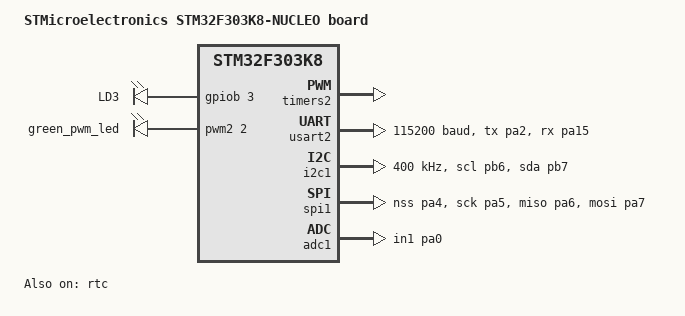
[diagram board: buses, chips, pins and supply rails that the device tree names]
/*
 * Copyright (c) 2020 Sebastian Schwabe <sebastian.schwabe@mailbox.tu-dresden.de>
 *                    Fabian Paschke <fabian.paschke@eas.iis.fraunhofer.de>
 *
 * SPDX-License-Identifier: Apache-2.0
 */

/dts-v1/;
#include <st/f3/stm32f303X8.dtsi>
#include <st/f3/stm32f303k(6-8)tx-pinctrl.dtsi>

/ {
	model = "STMicroelectronics STM32F303K8-NUCLEO board";
	compatible = "st,stm32f303k8-nucleo";

	chosen {
		zephyr,console = &usart2;
		zephyr,shell-uart = &usart2;
		zephyr,sram = &sram0;
		zephyr,flash = &flash0;
	};

	leds {
		compatible = "gpio-leds";
		green_led_3: green_led_3 {
			gpios = <&gpiob 3 GPIO_ACTIVE_HIGH>;
			label = "LD3";
		};
	};
	pwmleds {
		compatible = "pwm-leds";
		green_pwm_led: green_pwm_led {
			pwms = <&pwm2 2 0 PWM_POLARITY_NORMAL>;
		};
	};

	aliases {
		led0 = &green_led_3;
		pwm-led0 = &green_pwm_led;
	};
};

&timers2 {
	status = "okay";

	pwm2: pwm {
		status = "okay";
		pinctrl-0 = <&tim2_ch2_pb3>;
	};
};

&usart2 {
	pinctrl-0 = <&usart2_tx_pa2 &usart2_rx_pa15>;
	current-speed = <115200>;
	status = "okay";
};


&i2c1 {
	pinctrl-0 = <&i2c1_scl_pb6 &i2c1_sda_pb7>;
	status = "okay";
	clock-frequency = <I2C_BITRATE_FAST>;
};

&spi1 {
	pinctrl-0 = <&spi1_nss_pa4 &spi1_sck_pa5
		     &spi1_miso_pa6 &spi1_mosi_pa7>;
	status = "okay";
};

&adc1 {
	pinctrl-0 = <&adc1_in1_pa0>;
	status = "okay";
};

&rtc {
	status = "okay";
};
